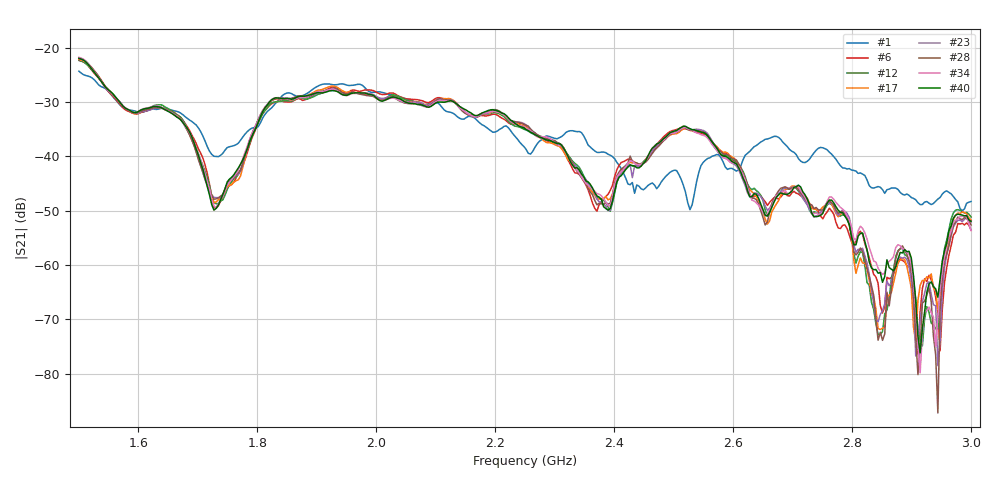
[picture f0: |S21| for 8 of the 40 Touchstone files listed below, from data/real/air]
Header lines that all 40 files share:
# HZ S RI R 50
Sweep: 1.5 GHz to 3 GHz
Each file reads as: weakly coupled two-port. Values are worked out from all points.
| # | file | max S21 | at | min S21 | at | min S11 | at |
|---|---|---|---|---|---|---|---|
| 1 | Air_002.s2p | -24.28 dB | 1.5 GHz | -50.0 dB | 2.985 GHz | -41.3 dB | 2.23 GHz |
| 2 | Air_006.s2p | -23.56 dB | 1.5 GHz | -63.7 dB | 3 GHz | -36.6 dB | 2.233 GHz |
| 3 | Air_007.s2p | -23.36 dB | 1.5 GHz | -59.3 dB | 3 GHz | -37.0 dB | 2.233 GHz |
| 4 | Air_010.s2p | -24.00 dB | 1.5 GHz | -54.0 dB | 2.516 GHz | -42.0 dB | 2.356 GHz |
| 5 | Air_016.s2p | -22.31 dB | 1.5 GHz | -86.9 dB | 2.948 GHz | -44.6 dB | 2.23 GHz |
| 6 | Air_017.s2p | -22.27 dB | 1.5 GHz | -76.4 dB | 2.911 GHz | -43.7 dB | 2.23 GHz |
| 7 | Air_021.s2p | -22.40 dB | 1.5 GHz | -67.5 dB | 2.855 GHz | -45.0 dB | 2.23 GHz |
| 8 | Air_025.s2p | -22.41 dB | 1.5 GHz | -67.6 dB | 2.944 GHz | -40.0 dB | 2.23 GHz |
| 9 | Air_027.s2p | -21.77 dB | 1.5 GHz | -82.3 dB | 2.948 GHz | -42.1 dB | 2.23 GHz |
| 10 | Air_028.s2p | -21.91 dB | 1.5 GHz | -68.4 dB | 2.862 GHz | -40.8 dB | 2.23 GHz |
| 11 | Air_030.s2p | -22.41 dB | 1.5 GHz | -80.2 dB | 2.855 GHz | -39.6 dB | 2.23 GHz |
| 12 | Air_033.s2p | -22.28 dB | 1.5 GHz | -74.9 dB | 2.918 GHz | -44.5 dB | 2.23 GHz |
| 13 | Air_034.s2p | -22.28 dB | 1.5 GHz | -76.5 dB | 2.944 GHz | -40.6 dB | 2.23 GHz |
| 14 | Air_037.s2p | -21.42 dB | 1.5 GHz | -70.6 dB | 2.833 GHz | -37.8 dB | 2.23 GHz |
| 15 | Air_038.s2p | -21.92 dB | 1.5 GHz | -71.4 dB | 2.948 GHz | -41.4 dB | 2.23 GHz |
| 16 | Air_041.s2p | -22.05 dB | 1.5 GHz | -80.3 dB | 2.907 GHz | -42.2 dB | 2.23 GHz |
| 17 | Air_043.s2p | -22.16 dB | 1.5 GHz | -74.2 dB | 2.907 GHz | -40.6 dB | 2.23 GHz |
| 18 | Air_046.s2p | -22.25 dB | 1.5 GHz | -79.5 dB | 2.94 GHz | -41.2 dB | 2.23 GHz |
| 19 | Air_048.s2p | -21.79 dB | 1.5 GHz | -83.1 dB | 2.907 GHz | -41.0 dB | 2.23 GHz |
| 20 | Air_049.s2p | -21.85 dB | 1.5 GHz | -75.5 dB | 2.907 GHz | -40.0 dB | 2.23 GHz |
| 21 | Air_050.s2p | -21.97 dB | 1.5 GHz | -79.1 dB | 2.907 GHz | -42.2 dB | 2.23 GHz |
| 22 | Air_052.s2p | -21.92 dB | 1.5 GHz | -80.9 dB | 2.911 GHz | -40.3 dB | 2.23 GHz |
| 23 | Air_054.s2p | -21.84 dB | 1.5 GHz | -78.6 dB | 2.944 GHz | -40.3 dB | 2.23 GHz |
| 24 | Air_055.s2p | -21.93 dB | 1.5 GHz | -77.0 dB | 2.907 GHz | -40.8 dB | 2.23 GHz |
| 25 | Air_057.s2p | -22.10 dB | 1.5 GHz | -83.9 dB | 2.948 GHz | -40.3 dB | 2.23 GHz |
| 26 | Air_058.s2p | -21.99 dB | 1.5 GHz | -79.2 dB | 2.907 GHz | -41.7 dB | 2.23 GHz |
| 27 | Air_061.s2p | -22.11 dB | 1.5 GHz | -83.0 dB | 2.911 GHz | -43.6 dB | 2.23 GHz |
| 28 | Air_062.s2p | -21.82 dB | 1.5 GHz | -87.3 dB | 2.944 GHz | -41.9 dB | 2.23 GHz |
| 29 | Air_065.s2p | -21.75 dB | 1.5 GHz | -71.6 dB | 2.851 GHz | -39.5 dB | 2.23 GHz |
| 30 | Air_066.s2p | -21.68 dB | 1.5 GHz | -72.9 dB | 2.948 GHz | -39.9 dB | 2.23 GHz |
| 31 | Air_067.s2p | -21.63 dB | 1.5 GHz | -75.8 dB | 2.948 GHz | -39.5 dB | 2.23 GHz |
| 32 | Air_068.s2p | -21.65 dB | 1.5 GHz | -77.9 dB | 2.907 GHz | -39.7 dB | 2.23 GHz |
| 33 | Air_071.s2p | -21.65 dB | 1.5 GHz | -77.9 dB | 2.914 GHz | -38.4 dB | 2.23 GHz |
| 34 | Air_073.s2p | -21.71 dB | 1.5 GHz | -79.9 dB | 2.914 GHz | -38.7 dB | 2.23 GHz |
| 35 | Air_074.s2p | -21.91 dB | 1.5 GHz | -86.9 dB | 2.933 GHz | -39.9 dB | 2.23 GHz |
| 36 | Air_075.s2p | -21.91 dB | 1.5 GHz | -83.6 dB | 2.918 GHz | -40.3 dB | 2.23 GHz |
| 37 | Air_076.s2p | -21.87 dB | 1.5 GHz | -81.9 dB | 2.914 GHz | -38.4 dB | 2.23 GHz |
| 38 | Air_079.s2p | -21.87 dB | 1.5 GHz | -84.0 dB | 2.914 GHz | -38.2 dB | 2.23 GHz |
| 39 | Air_081.s2p | -21.92 dB | 1.5 GHz | -80.1 dB | 2.918 GHz | -39.2 dB | 2.23 GHz |
| 40 | Air_082.s2p | -21.91 dB | 1.5 GHz | -76.2 dB | 2.914 GHz | -39.9 dB | 2.23 GHz |
